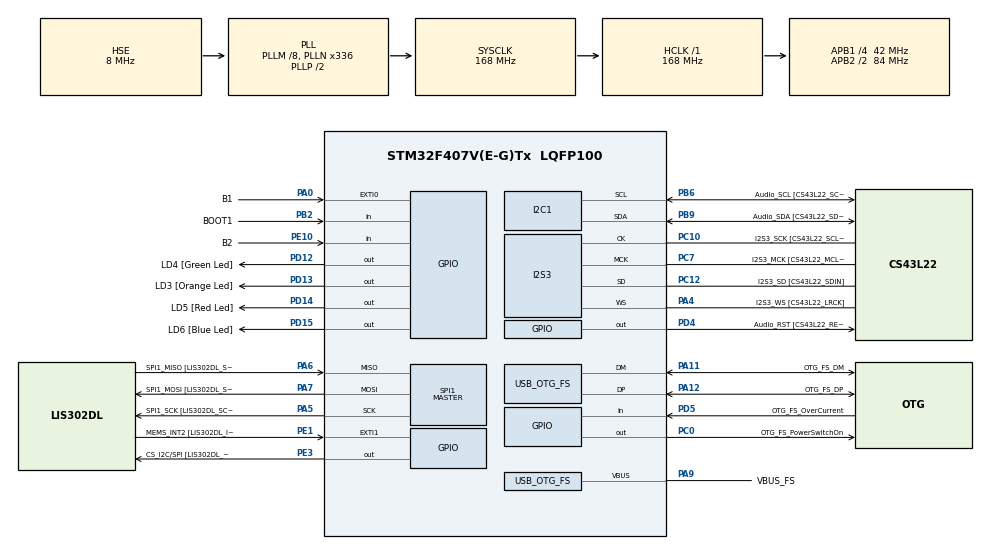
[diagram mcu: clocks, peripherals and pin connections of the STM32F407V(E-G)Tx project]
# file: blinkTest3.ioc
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I2S3.AudioFreq-Half_Duplex_Master=I2S_AUDIOFREQ_96K
I2S3.ErrorAudioFreq=-2.34 %
I2S3.ErrorAudioFreq-Half_Duplex_Master=0.8 %
I2S3.FullDuplexMode=I2S_FULLDUPLEXMODE_DISABLE
I2S3.Instance=SPI$Index
I2S3.RealAudioFreq=93.75 KHz
I2S3.RealAudioFreq-Half_Duplex_Master=96.774 KHz
I2S3.VirtualMode=I2S_MODE_MASTER
Mcu.Family=STM32F4
Mcu.Name=STM32F407V(E-G)Tx
Mcu.Package=LQFP100
NVIC.EXTI0_IRQn=true\:0\:0\:false\:false\:true\:true\:true
NVIC.OTG_FS_IRQn=true\:0\:0\:false\:false\:true\:true\:true
NVIC.PriorityGroup=NVIC_PRIORITYGROUP_0
NVIC.TIM6_DAC_IRQn=true\:0\:2\:true\:false\:true\:true\:true
NVIC.TIM7_IRQn=true\:0\:0\:false\:false\:true\:true\:true
PA0-WKUP.GPIO_Label=B1
PA0-WKUP.GPIO_PuPd=GPIO_PULLDOWN
PA0-WKUP.Signal=GPXTI0
PA10.GPIO_Label=OTG_FS_ID
PA10.GPIO_Mode=GPIO_MODE_AF_PP
PA10.GPIO_PuPd=GPIO_NOPULL
PA10.GPIO_Speed=GPIO_SPEED_FREQ_LOW
PA10.Signal=USB_OTG_FS_ID
PA11.GPIO_Label=OTG_FS_DM
PA11.GPIO_Mode=GPIO_MODE_AF_PP
PA11.GPIO_PuPd=GPIO_NOPULL
PA11.GPIO_Speed=GPIO_SPEED_FREQ_LOW
PA11.Mode=Host_Only
PA11.Signal=USB_OTG_FS_DM
PA12.GPIO_Label=OTG_FS_DP
PA12.GPIO_Mode=GPIO_MODE_AF_PP
PA12.GPIO_PuPd=GPIO_NOPULL
PA12.GPIO_Speed=GPIO_SPEED_FREQ_LOW
PA12.Mode=Host_Only
PA12.Signal=USB_OTG_FS_DP
PA13.GPIO_Label=SWDIO
PA13.Mode=Serial_Wire
PA13.Signal=SYS_JTMS-SWDIO
PA14.GPIO_Label=SWCLK
PA14.Mode=Serial_Wire
PA14.Signal=SYS_JTCK-SWCLK
PA4.GPIO_Label=I2S3_WS [CS43L22_LRCK]
PA4.GPIO_Mode=GPIO_MODE_AF_PP
PA4.GPIO_PuPd=GPIO_NOPULL
PA4.GPIO_Speed=GPIO_SPEED_FREQ_LOW
PA4.Mode=Half_Duplex_Master
PA4.Signal=I2S3_WS
PA5.GPIO_Label=SPI1_SCK [LIS302DL_SCL/SPC]
PA5.GPIO_Mode=GPIO_MODE_AF_PP
PA5.GPIO_PuPd=GPIO_NOPULL
PA5.GPIO_Speed=GPIO_SPEED_FREQ_LOW
PA5.Mode=Full_Duplex_Master
PA5.Signal=SPI1_SCK
PA6.GPIO_Label=SPI1_MISO [LIS302DL_SDO]
PA6.GPIO_Mode=GPIO_MODE_AF_PP
PA6.GPIO_PuPd=GPIO_NOPULL
PA6.GPIO_Speed=GPIO_SPEED_FREQ_LOW
PA6.Mode=Full_Duplex_Master
PA6.Signal=SPI1_MISO
PA7.GPIO_Label=SPI1_MOSI [LIS302DL_SDA/SDI/SDO]
PA7.GPIO_Mode=GPIO_MODE_AF_PP
PA7.GPIO_PuPd=GPIO_NOPULL
PA7.GPIO_Speed=GPIO_SPEED_FREQ_LOW
PA7.Mode=Full_Duplex_Master
PA7.Signal=SPI1_MOSI
PA9.GPIO_Label=VBUS_FS
PA9.GPIO_Mode=GPIO_MODE_INPUT
PA9.GPIO_PuPd=GPIO_NOPULL
PA9.Mode=Activate_VBUS
PA9.Signal=USB_OTG_FS_VBUS
PB10.GPIO_Label=CLK_IN [MP45DT02_CLK]
PB10.GPIO_Mode=GPIO_MODE_AF_PP
PB10.GPIO_PuPd=GPIO_NOPULL
PB10.GPIO_Speed=GPIO_SPEED_FREQ_LOW
PB10.Signal=I2S2_CK
PB2.GPIO_Label=BOOT1
PB2.GPIO_Mode=GPIO_MODE_INPUT
PB2.GPIO_PuPd=GPIO_NOPULL
PB2.Signal=GPIO_Input
PB3.GPIO_Label=SWO
PB3.Signal=SYS_JTDO-SWO
PB6.GPIO_Label=Audio_SCL [CS43L22_SCL]
PB6.GPIO_Mode=GPIO_MODE_AF_OD
PB6.GPIO_PuPd=GPIO_NOPULL
PB6.GPIO_Speed=GPIO_SPEED_FREQ_LOW
PB6.Mode=I2C
PB6.Signal=I2C1_SCL
PB9.GPIO_Label=Audio_SDA [CS43L22_SDA]
PB9.GPIO_Mode=GPIO_MODE_AF_OD
PB9.GPIO_PuPd=GPIO_NOPULL
PB9.GPIO_Speed=GPIO_SPEED_FREQ_LOW
PB9.Mode=I2C
PB9.Signal=I2C1_SDA
PC0.GPIO_Label=OTG_FS_PowerSwitchOn
PC0.GPIO_PuPd=GPIO_NOPULL
PC0.GPIO_Speed=GPIO_SPEED_FREQ_LOW
PC0.PinState=GPIO_PIN_SET
PC0.Signal=GPIO_Output
PC10.GPIO_Label=I2S3_SCK [CS43L22_SCLK]
PC10.GPIO_Mode=GPIO_MODE_AF_PP
PC10.GPIO_PuPd=GPIO_NOPULL
PC10.GPIO_Speed=GPIO_SPEED_FREQ_LOW
PC10.Mode=Half_Duplex_Master
PC10.Signal=I2S3_CK
PC12.GPIO_Label=I2S3_SD [CS43L22_SDIN]
PC12.GPIO_Mode=GPIO_MODE_AF_PP
PC12.GPIO_PuPd=GPIO_NOPULL
PC12.GPIO_Speed=GPIO_SPEED_FREQ_LOW
PC12.Mode=Half_Duplex_Master
PC12.Signal=I2S3_SD
PC14-OSC32_IN.GPIO_Label=PC14-OSC32_IN
PC14-OSC32_IN.Mode=LSE-External-Oscillator
PC14-OSC32_IN.Signal=RCC_OSC32_IN
PC15-OSC32_OUT.GPIO_Label=PC15-OSC32_OUT
PC15-OSC32_OUT.Mode=LSE-External-Oscillator
PC15-OSC32_OUT.Signal=RCC_OSC32_OUT
PC3.GPIO_Label=PDM_OUT [MP45DT02_DOUT]
PC3.GPIO_Mode=GPIO_MODE_AF_PP
PC3.GPIO_PuPd=GPIO_NOPULL
PC3.GPIO_Speed=GPIO_SPEED_FREQ_LOW
PC3.Signal=I2S2_SD
PC7.GPIO_Label=I2S3_MCK [CS43L22_MCLK]
PC7.GPIO_Mode=GPIO_MODE_AF_PP
PC7.GPIO_PuPd=GPIO_NOPULL
PC7.GPIO_Speed=GPIO_SPEED_FREQ_LOW
PC7.Mode=Master_Clock_Activated
PC7.Signal=I2S3_MCK
PD12.GPIO_Label=LD4 [Green Led]
PD12.GPIO_PuPd=GPIO_NOPULL
PD12.GPIO_Speed=GPIO_SPEED_FREQ_LOW
PD12.Signal=GPIO_Output
PD13.GPIO_Label=LD3 [Orange Led]
PD13.GPIO_PuPd=GPIO_NOPULL
PD13.GPIO_Speed=GPIO_SPEED_FREQ_LOW
PD13.Signal=GPIO_Output
PD14.GPIO_Label=LD5 [Red Led]
PD14.GPIO_PuPd=GPIO_NOPULL
PD14.GPIO_Speed=GPIO_SPEED_FREQ_LOW
PD14.Signal=GPIO_Output
PD15.GPIO_Label=LD6 [Blue Led]
PD15.GPIO_PuPd=GPIO_NOPULL
PD15.GPIO_Speed=GPIO_SPEED_FREQ_LOW
PD15.Signal=GPIO_Output
PD4.GPIO_Label=Audio_RST [CS43L22_RESET]
PD4.GPIO_PuPd=GPIO_NOPULL
PD4.GPIO_Speed=GPIO_SPEED_FREQ_LOW
PD4.Signal=GPIO_Output
PD5.GPIO_Label=OTG_FS_OverCurrent
PD5.GPIO_Mode=GPIO_MODE_INPUT
PD5.GPIO_PuPd=GPIO_NOPULL
PD5.Signal=GPIO_Input
PE1.GPIO_Label=MEMS_INT2 [LIS302DL_INT2]
PE1.GPIO_ModeDefaultEXTI=GPIO_MODE_EVT_RISING
PE1.GPIO_PuPd=GPIO_NOPULL
PE1.Signal=GPXTI1
PE10.GPIO_Label=B2
PE10.GPIO_PuPd=GPIO_PULLDOWN
PE10.Signal=GPIO_Input
PE3.GPIO_Label=CS_I2C/SPI [LIS302DL_CS_I2C/SPI]
PE3.GPIO_PuPd=GPIO_NOPULL
PE3.GPIO_Speed=GPIO_SPEED_FREQ_LOW
PE3.Signal=GPIO_Output
PH0-OSC_IN.GPIO_Label=PH0-OSC_IN
PH0-OSC_IN.Mode=HSE-External-Oscillator
PH0-OSC_IN.Signal=RCC_OSC_IN
PH1-OSC_OUT.GPIO_Label=PH1-OSC_OUT
PH1-OSC_OUT.Mode=HSE-External-Oscillator
PH1-OSC_OUT.Signal=RCC_OSC_OUT
ProjectManager.HeapSize=0x200
ProjectManager.StackSize=0x400
ProjectManager.TargetToolchain=STM32CubeIDE
RCC.48MHZClocksFreq_Value=48000000
RCC.AHBFreq_Value=168000000
RCC.APB1CLKDivider=RCC_HCLK_DIV4
RCC.APB1Freq_Value=42000000
RCC.APB1TimFreq_Value=84000000
RCC.APB2CLKDivider=RCC_HCLK_DIV2
RCC.APB2Freq_Value=84000000
RCC.APB2TimFreq_Value=168000000
RCC.CortexFreq_Value=168000000
RCC.HCLKFreq_Value=168000000
RCC.HSE_VALUE=8000000
RCC.HSI_VALUE=16000000
RCC.PLLM=8
RCC.PLLN=336
RCC.PLLQ=7
RCC.SYSCLKFreq_VALUE=168000000
RCC.SYSCLKSource=RCC_SYSCLKSOURCE_PLLCLK
RCC.VCOOutputFreq_Value=336000000
SPI1.BaudRatePrescaler-Full_Duplex_Master=SPI_BAUDRATEPRESCALER_2
SPI1.CalculateBaudRate-Full_Duplex_Master=42.0 MBits/s
SPI1.Direction=SPI_DIRECTION_2LINES
SPI1.Mode=SPI_MODE_MASTER
SPI1.Mode-Full_Duplex_Master=SPI_MODE_MASTER
SPI1.VirtualType=VM_MASTER
TIM6.Period=64000
TIM6.Prescaler=100
TIM7.Period=1000
TIM7.Prescaler=840
USB_HOST.BSP.number=1
USB_HOST.USBH_HandleTypeDef-CDC_FS=hUsbHostFS
USB_HOST.VirtualModeFS=Cdc
USB_HOST0.BSP.STBoard=false
USB_HOST0.BSP.api=Unknown
USB_HOST0.BSP.i2caddr=0
USB_HOST0.BSP.i2creg=0
USB_HOST0.BSP.instance=PC0
USB_HOST0.BSP.ip=GPIO
USB_HOST0.BSP.mode=Output
USB_HOST0.BSP.name=Drive_VBUS_FS
USB_HOST0.BSP.solution=PC0
USB_OTG_FS.VirtualMode=Host_Only
USB_OTG_FS.phy_itface=HCD_PHY_EMBEDDED
VP_TIM6_VS_ClockSourceINT.Mode=Enable_Timer
VP_TIM7_VS_ClockSourceINT.Mode=Enable_Timer
VP_USB_HOST_VS_USB_HOST_CDC_FS.Mode=CDC_FS
board=STM32F4DISCOVERY

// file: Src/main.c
/* USER CODE BEGIN Header */
/**
  ******************************************************************************
  * @file           : main.c
  * @brief          : Main program body
  ******************************************************************************
  * @attention
  *
  * <h2><center>&copy; Copyright (c) 2023 STMicroelectronics.
  * All rights reserved.</center></h2>
  *
  * This software component is licensed by ST under Ultimate Liberty license
  * SLA0044, the "License"; You may not use this file except in compliance with
  * the License. You may obtain a copy of the License at:
  *                             www.st.com/SLA0044
  *
  ******************************************************************************
  */
/* USER CODE END Header */

#include "main.h"
#include "usb_host.h"

I2C_HandleTypeDef hi2c1;

I2S_HandleTypeDef hi2s3;

SPI_HandleTypeDef hspi1;

TIM_HandleTypeDef htim6;
TIM_HandleTypeDef htim7;

void SystemClock_Config(void);
static void MX_GPIO_Init(void);
static void MX_I2C1_Init(void);
static void MX_I2S3_Init(void);
static void MX_SPI1_Init(void);
static void MX_TIM6_Init(void);
static void MX_TIM7_Init(void);
void MX_USB_HOST_Process(void);

/* USER CODE BEGIN 0 */
void turn_led_on(int led_num) {
	switch(led_num) {
	case LD4: {
    HAL_GPIO_WritePin(LD4_GPIO_Port, LD4_Pin, GPIO_PIN_SET);
    HAL_GPIO_WritePin(LD5_GPIO_Port, LD5_Pin, GPIO_PIN_RESET);
    HAL_GPIO_WritePin(LD6_GPIO_Port, LD6_Pin, GPIO_PIN_RESET);
    HAL_GPIO_WritePin(LD3_GPIO_Port, LD3_Pin, GPIO_PIN_RESET);
  } break;
	case LD5: {
    HAL_GPIO_WritePin(LD4_GPIO_Port, LD4_Pin, GPIO_PIN_RESET);
    HAL_GPIO_WritePin(LD5_GPIO_Port, LD5_Pin, GPIO_PIN_SET);
    HAL_GPIO_WritePin(LD6_GPIO_Port, LD6_Pin, GPIO_PIN_RESET);
    HAL_GPIO_WritePin(LD3_GPIO_Port, LD3_Pin, GPIO_PIN_RESET);
  } break;
	case LD6: {
    HAL_GPIO_WritePin(LD4_GPIO_Port, LD4_Pin, GPIO_PIN_RESET);
    HAL_GPIO_WritePin(LD5_GPIO_Port, LD5_Pin, GPIO_PIN_RESET);
    HAL_GPIO_WritePin(LD6_GPIO_Port, LD6_Pin, GPIO_PIN_SET);
    HAL_GPIO_WritePin(LD3_GPIO_Port, LD3_Pin, GPIO_PIN_RESET);
  } break;
	case LD3: {
    HAL_GPIO_WritePin(LD4_GPIO_Port, LD4_Pin, GPIO_PIN_RESET);
    HAL_GPIO_WritePin(LD5_GPIO_Port, LD5_Pin, GPIO_PIN_RESET);
    HAL_GPIO_WritePin(LD6_GPIO_Port, LD6_Pin, GPIO_PIN_RESET);
    HAL_GPIO_WritePin(LD3_GPIO_Port, LD3_Pin, GPIO_PIN_SET);
  }
	}
}

void clock_wise_rotation() {
	static int led_cnt = 0;
	switch(led_cnt) {
	case 0: {
    turn_led_on(LD4);
    led_cnt++;
  } break;
	case 1: {
    turn_led_on(LD3);
    led_cnt++;
  } break;
	case 2: {
    turn_led_on(LD5);
    led_cnt++;
  } break;
	case 3: {
    turn_led_on(LD6);
    led_cnt = 0;
  }
  }
}

void counter_clock_wise_rotation() {
  static int led_cnt = 0;
	switch(led_cnt) {
	case 0: {
    turn_led_on(LD4);
    led_cnt++;
  } break;
	case 1: {
    turn_led_on(LD6);
    led_cnt++;
  } break;
	case 2: {
    turn_led_on(LD5);
    led_cnt++;
  } break;
	case 3: {
    turn_led_on(LD3);
    led_cnt = 0;
  }
  }
};

void toggle_flag(int* in) {
  if(*in == 1) *in = 0;
  else *in = 1;
}

void rotate(const int rotation) {
	if (rotation == CW) clock_wise_rotation();
	else counter_clock_wise_rotation();
}

// checks if the button is pressed or holded and then does some functionality
void check_button() {
  static int high_cnt = 0;
  static int edge_detected = 0;
  if (HAL_GPIO_ReadPin(B2_GPIO_Port, B2_Pin))
    high_cnt++;
  else {
    high_cnt = 0;
    edge_detected = 0;
  }
  if (high_cnt >= SHORT_BUTTON_THRESH) {
    if (!edge_detected) {
      state = ROTATE;
      edge_detected = 1;
      //function done
      toggle_flag(&rotation);
    }
    if (high_cnt >= LONG_BUTTON_THRESH) {
      state = BLINK;
    }
  }
}

void blink() {
    HAL_GPIO_TogglePin(LD4_GPIO_Port, LD4_Pin);
    HAL_GPIO_TogglePin(LD5_GPIO_Port, LD5_Pin);
    HAL_GPIO_TogglePin(LD6_GPIO_Port, LD6_Pin);
    HAL_GPIO_TogglePin(LD3_GPIO_Port, LD3_Pin);
}

void HAL_TIM_PeriodElapsedCallback(TIM_HandleTypeDef *htim)
{
  if(htim->Instance == TIM6) {
    switch(state) {
    case BLINK: {
      blink();
    } break;
    case ROTATE: {
      rotate(rotation);
    }
    }
  } else if (htim->Instance == TIM7) {
    check_button();
  }
}
/* USER CODE END 0 */

int main(void)
{
  /* USER CODE BEGIN 1 */
  rotation = CW;
  state = ROTATE;
  /* USER CODE END 1 */

  /* MCU Configuration--------------------------------------------------------*/

  /* Reset of all peripherals, Initializes the Flash interface and the Systick. */
  HAL_Init();

  /* Configure the system clock */
  SystemClock_Config();

  /* Initialize all configured peripherals */
  MX_GPIO_Init();
  MX_I2C1_Init();
  MX_I2S3_Init();
  MX_SPI1_Init();
  MX_USB_HOST_Init();
  MX_TIM6_Init();
  MX_TIM7_Init();
  /* USER CODE BEGIN 2 */
  HAL_TIM_Base_Start_IT(&htim6);
  HAL_TIM_Base_Start_IT(&htim7);
  /* USER CODE END 2 */

  /* Infinite loop */
  while (1)
  {
    MX_USB_HOST_Process();

  }
}

void SystemClock_Config(void)
{
  RCC_OscInitTypeDef RCC_OscInitStruct = {0};
  RCC_ClkInitTypeDef RCC_ClkInitStruct = {0};
  RCC_PeriphCLKInitTypeDef PeriphClkInitStruct = {0};

  /** Configure the main internal regulator output voltage
  */
  __HAL_RCC_PWR_CLK_ENABLE();
  __HAL_PWR_VOLTAGESCALING_CONFIG(PWR_REGULATOR_VOLTAGE_SCALE1);
  /** Initializes the CPU, AHB and APB busses clocks
  */
  RCC_OscInitStruct.OscillatorType = RCC_OSCILLATORTYPE_HSE;
  RCC_OscInitStruct.HSEState = RCC_HSE_ON;
  RCC_OscInitStruct.PLL.PLLState = RCC_PLL_ON;
  RCC_OscInitStruct.PLL.PLLSource = RCC_PLLSOURCE_HSE;
  RCC_OscInitStruct.PLL.PLLM = 8;
  RCC_OscInitStruct.PLL.PLLN = 336;
  RCC_OscInitStruct.PLL.PLLP = RCC_PLLP_DIV2;
  RCC_OscInitStruct.PLL.PLLQ = 7;
  if (HAL_RCC_OscConfig(&RCC_OscInitStruct) != HAL_OK)
  {
    Error_Handler();
  }
  /** Initializes the CPU, AHB and APB busses clocks
  */
  RCC_ClkInitStruct.ClockType = RCC_CLOCKTYPE_HCLK|RCC_CLOCKTYPE_SYSCLK
                              |RCC_CLOCKTYPE_PCLK1|RCC_CLOCKTYPE_PCLK2;
  RCC_ClkInitStruct.SYSCLKSource = RCC_SYSCLKSOURCE_PLLCLK;
  RCC_ClkInitStruct.AHBCLKDivider = RCC_SYSCLK_DIV1;
  RCC_ClkInitStruct.APB1CLKDivider = RCC_HCLK_DIV4;
  RCC_ClkInitStruct.APB2CLKDivider = RCC_HCLK_DIV2;

  if (HAL_RCC_ClockConfig(&RCC_ClkInitStruct, FLASH_LATENCY_5) != HAL_OK)
  {
    Error_Handler();
  }
  PeriphClkInitStruct.PeriphClockSelection = RCC_PERIPHCLK_I2S;
  PeriphClkInitStruct.PLLI2S.PLLI2SN = 192;
  PeriphClkInitStruct.PLLI2S.PLLI2SR = 2;
  if (HAL_RCCEx_PeriphCLKConfig(&PeriphClkInitStruct) != HAL_OK)
  {
    Error_Handler();
  }
}

static void MX_I2C1_Init(void)
{

  hi2c1.Instance = I2C1;
  hi2c1.Init.ClockSpeed = 100000;
  hi2c1.Init.DutyCycle = I2C_DUTYCYCLE_2;
  hi2c1.Init.OwnAddress1 = 0;
  hi2c1.Init.AddressingMode = I2C_ADDRESSINGMODE_7BIT;
  hi2c1.Init.DualAddressMode = I2C_DUALADDRESS_DISABLE;
  hi2c1.Init.OwnAddress2 = 0;
  hi2c1.Init.GeneralCallMode = I2C_GENERALCALL_DISABLE;
  hi2c1.Init.NoStretchMode = I2C_NOSTRETCH_DISABLE;
  if (HAL_I2C_Init(&hi2c1) != HAL_OK)
  {
    Error_Handler();
  }

}

static void MX_I2S3_Init(void)
{

  hi2s3.Instance = SPI3;
  hi2s3.Init.Mode = I2S_MODE_MASTER_TX;
  hi2s3.Init.Standard = I2S_STANDARD_PHILIPS;
  hi2s3.Init.DataFormat = I2S_DATAFORMAT_16B;
  hi2s3.Init.MCLKOutput = I2S_MCLKOUTPUT_ENABLE;
  hi2s3.Init.AudioFreq = I2S_AUDIOFREQ_96K;
  hi2s3.Init.CPOL = I2S_CPOL_LOW;
  hi2s3.Init.ClockSource = I2S_CLOCK_PLL;
  hi2s3.Init.FullDuplexMode = I2S_FULLDUPLEXMODE_DISABLE;
  if (HAL_I2S_Init(&hi2s3) != HAL_OK)
  {
    Error_Handler();
  }

}

static void MX_SPI1_Init(void)
{

  /* SPI1 parameter configuration*/
  hspi1.Instance = SPI1;
  hspi1.Init.Mode = SPI_MODE_MASTER;
  hspi1.Init.Direction = SPI_DIRECTION_2LINES;
  hspi1.Init.DataSize = SPI_DATASIZE_8BIT;
  hspi1.Init.CLKPolarity = SPI_POLARITY_LOW;
  hspi1.Init.CLKPhase = SPI_PHASE_1EDGE;
  hspi1.Init.NSS = SPI_NSS_SOFT;
  hspi1.Init.BaudRatePrescaler = SPI_BAUDRATEPRESCALER_2;
  hspi1.Init.FirstBit = SPI_FIRSTBIT_MSB;
  hspi1.Init.TIMode = SPI_TIMODE_DISABLE;
  hspi1.Init.CRCCalculation = SPI_CRCCALCULATION_DISABLE;
  hspi1.Init.CRCPolynomial = 10;
  if (HAL_SPI_Init(&hspi1) != HAL_OK)
  {
    Error_Handler();
  }

}

static void MX_TIM6_Init(void)
{

  TIM_MasterConfigTypeDef sMasterConfig = {0};

  htim6.Instance = TIM6;
  htim6.Init.Prescaler = 100;
  htim6.Init.CounterMode = TIM_COUNTERMODE_UP;
  htim6.Init.Period = 64000;
  htim6.Init.AutoReloadPreload = TIM_AUTORELOAD_PRELOAD_DISABLE;
  if (HAL_TIM_Base_Init(&htim6) != HAL_OK)
  {
    Error_Handler();
  }
  sMasterConfig.MasterOutputTrigger = TIM_TRGO_RESET;
  sMasterConfig.MasterSlaveMode = TIM_MASTERSLAVEMODE_DISABLE;
  if (HAL_TIMEx_MasterConfigSynchronization(&htim6, &sMasterConfig) != HAL_OK)
  {
    Error_Handler();
  }

}

static void MX_TIM7_Init(void)
{

  TIM_MasterConfigTypeDef sMasterConfig = {0};

  htim7.Instance = TIM7;
  htim7.Init.Prescaler = 840;
  htim7.Init.CounterMode = TIM_COUNTERMODE_UP;
  htim7.Init.Period = 1000;
  htim7.Init.AutoReloadPreload = TIM_AUTORELOAD_PRELOAD_DISABLE;
  if (HAL_TIM_Base_Init(&htim7) != HAL_OK)
  {
    Error_Handler();
  }
  sMasterConfig.MasterOutputTrigger = TIM_TRGO_RESET;
  sMasterConfig.MasterSlaveMode = TIM_MASTERSLAVEMODE_DISABLE;
  if (HAL_TIMEx_MasterConfigSynchronization(&htim7, &sMasterConfig) != HAL_OK)
  {
    Error_Handler();
  }

}

static void MX_GPIO_Init(void)
{
  GPIO_InitTypeDef GPIO_InitStruct = {0};

  /* GPIO Ports Clock Enable */
  __HAL_RCC_GPIOE_CLK_ENABLE();
  __HAL_RCC_GPIOC_CLK_ENABLE();
  __HAL_RCC_GPIOH_CLK_ENABLE();
  __HAL_RCC_GPIOA_CLK_ENABLE();
  __HAL_RCC_GPIOB_CLK_ENABLE();
  __HAL_RCC_GPIOD_CLK_ENABLE();

  /*Configure GPIO pin Output Level */
  HAL_GPIO_WritePin(CS_I2C_SPI_GPIO_Port, CS_I2C_SPI_Pin, GPIO_PIN_RESET);

  /*Configure GPIO pin Output Level */
  HAL_GPIO_WritePin(OTG_FS_PowerSwitchOn_GPIO_Port, OTG_FS_PowerSwitchOn_Pin, GPIO_PIN_SET);

  /*Configure GPIO pin Output Level */
  HAL_GPIO_WritePin(GPIOD, LD4_Pin|LD3_Pin|LD5_Pin|LD6_Pin
                          |Audio_RST_Pin, GPIO_PIN_RESET);

  /*Configure GPIO pin : CS_I2C_SPI_Pin */
  GPIO_InitStruct.Pin = CS_I2C_SPI_Pin;
  GPIO_InitStruct.Mode = GPIO_MODE_OUTPUT_PP;
  GPIO_InitStruct.Pull = GPIO_NOPULL;
  GPIO_InitStruct.Speed = GPIO_SPEED_FREQ_LOW;
  HAL_GPIO_Init(CS_I2C_SPI_GPIO_Port, &GPIO_InitStruct);

  /*Configure GPIO pin : OTG_FS_PowerSwitchOn_Pin */
  GPIO_InitStruct.Pin = OTG_FS_PowerSwitchOn_Pin;
  GPIO_InitStruct.Mode = GPIO_MODE_OUTPUT_PP;
  GPIO_InitStruct.Pull = GPIO_NOPULL;
  GPIO_InitStruct.Speed = GPIO_SPEED_FREQ_LOW;
  HAL_GPIO_Init(OTG_FS_PowerSwitchOn_GPIO_Port, &GPIO_InitStruct);

  /*Configure GPIO pin : PDM_OUT_Pin */
  GPIO_InitStruct.Pin = PDM_OUT_Pin;
  GPIO_InitStruct.Mode = GPIO_MODE_AF_PP;
  GPIO_InitStruct.Pull = GPIO_NOPULL;
  GPIO_InitStruct.Speed = GPIO_SPEED_FREQ_LOW;
  GPIO_InitStruct.Alternate = GPIO_AF5_SPI2;
  HAL_GPIO_Init(PDM_OUT_GPIO_Port, &GPIO_InitStruct);

  /*Configure GPIO pin : B1_Pin */
  GPIO_InitStruct.Pin = B1_Pin;
  GPIO_InitStruct.Mode = GPIO_MODE_IT_RISING;
  GPIO_InitStruct.Pull = GPIO_PULLDOWN;
  HAL_GPIO_Init(B1_GPIO_Port, &GPIO_InitStruct);

  /*Configure GPIO pin : BOOT1_Pin */
  GPIO_InitStruct.Pin = BOOT1_Pin;
  GPIO_InitStruct.Mode = GPIO_MODE_INPUT;
  GPIO_InitStruct.Pull = GPIO_NOPULL;
  HAL_GPIO_Init(BOOT1_GPIO_Port, &GPIO_InitStruct);

  /*Configure GPIO pin : B2_Pin */
  GPIO_InitStruct.Pin = B2_Pin;
  GPIO_InitStruct.Mode = GPIO_MODE_INPUT;
  GPIO_InitStruct.Pull = GPIO_PULLDOWN;
  HAL_GPIO_Init(B2_GPIO_Port, &GPIO_InitStruct);

  /*Configure GPIO pin : CLK_IN_Pin */
  GPIO_InitStruct.Pin = CLK_IN_Pin;
  GPIO_InitStruct.Mode = GPIO_MODE_AF_PP;
  GPIO_InitStruct.Pull = GPIO_NOPULL;
  GPIO_InitStruct.Speed = GPIO_SPEED_FREQ_LOW;
  GPIO_InitStruct.Alternate = GPIO_AF5_SPI2;
  HAL_GPIO_Init(CLK_IN_GPIO_Port, &GPIO_InitStruct);

  /*Configure GPIO pins : LD4_Pin LD3_Pin LD5_Pin LD6_Pin
                           Audio_RST_Pin */
  GPIO_InitStruct.Pin = LD4_Pin|LD3_Pin|LD5_Pin|LD6_Pin
                          |Audio_RST_Pin;
  GPIO_InitStruct.Mode = GPIO_MODE_OUTPUT_PP;
  GPIO_InitStruct.Pull = GPIO_NOPULL;
  GPIO_InitStruct.Speed = GPIO_SPEED_FREQ_LOW;
  HAL_GPIO_Init(GPIOD, &GPIO_InitStruct);

  /*Configure GPIO pin : OTG_FS_OverCurrent_Pin */
  GPIO_InitStruct.Pin = OTG_FS_OverCurrent_Pin;
  GPIO_InitStruct.Mode = GPIO_MODE_INPUT;
  GPIO_InitStruct.Pull = GPIO_NOPULL;
  HAL_GPIO_Init(OTG_FS_OverCurrent_GPIO_Port, &GPIO_InitStruct);

  /*Configure GPIO pin : MEMS_INT2_Pin */
  GPIO_InitStruct.Pin = MEMS_INT2_Pin;
  GPIO_InitStruct.Mode = GPIO_MODE_EVT_RISING;
  GPIO_InitStruct.Pull = GPIO_NOPULL;
  HAL_GPIO_Init(MEMS_INT2_GPIO_Port, &GPIO_InitStruct);

  /* EXTI interrupt init*/
  HAL_NVIC_SetPriority(EXTI0_IRQn, 0, 0);
  HAL_NVIC_EnableIRQ(EXTI0_IRQn);

}

void Error_Handler(void)
{
}

/************************ (C) COPYRIGHT STMicroelectronics *****END OF FILE****/
